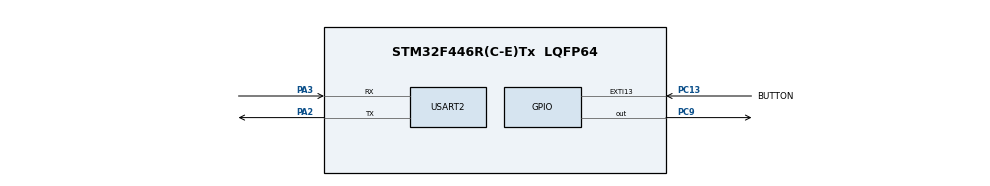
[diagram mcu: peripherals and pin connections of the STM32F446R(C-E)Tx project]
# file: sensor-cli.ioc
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FREERTOS.BinarySemaphores01=CallScanfTask,Dynamic,NULL,Available;ReleaseQueue,Dynamic,NULL,Available
FREERTOS.Queues01=Queue,255,uint8_t,0,Dynamic,NULL,NULL
FREERTOS.Tasks01=MainTask,0,1024,StartMainTask,Default,NULL,Dynamic,NULL,NULL;ScanfTask,-1,1024,StartScanfTask,Default,NULL,Dynamic,NULL,NULL
FREERTOS.configMAX_TASK_NAME_LEN=255
FREERTOS.configMINIMAL_STACK_SIZE=255
FREERTOS.configTOTAL_HEAP_SIZE=12000
FREERTOS.configUSE_NEWLIB_REENTRANT=1
Mcu.Family=STM32F4
Mcu.Name=STM32F446R(C-E)Tx
Mcu.Package=LQFP64
NVIC.EXTI15_10_IRQn=true\:5\:0\:false\:false\:true\:true\:true\:true\:true
NVIC.PriorityGroup=NVIC_PRIORITYGROUP_4
NVIC.TIM2_IRQn=true\:15\:0\:false\:false\:true\:false\:false\:true\:true
NVIC.TimeBase=TIM2_IRQn
NVIC.TimeBaseIP=TIM2
NVIC.USART2_IRQn=true\:5\:0\:false\:false\:true\:true\:true\:true\:true
PA0-WKUP.Mode=SYS_WakeUp0
PA0-WKUP.Signal=SYS_WKUP0
PA13.Mode=Serial_Wire
PA13.Signal=SYS_JTMS-SWDIO
PA14.Mode=Serial_Wire
PA14.Signal=SYS_JTCK-SWCLK
PA2.Mode=Asynchronous
PA2.Signal=USART2_TX
PA3.Mode=Asynchronous
PA3.Signal=USART2_RX
PC13.GPIO_Label=BUTTON
PC13.GPIO_ModeDefaultEXTI=GPIO_MODE_IT_FALLING
PC13.Signal=GPXTI13
PC9.GPIO_ModeDefaultOutputPP=GPIO_MODE_OUTPUT_OD
PC9.GPIO_PuPd=GPIO_NOPULL
PC9.GPIO_Speed=GPIO_SPEED_FREQ_MEDIUM
PC9.PinState=GPIO_PIN_SET
PC9.Signal=GPIO_Output
ProjectManager.HeapSize=0x200
ProjectManager.StackSize=0x400
ProjectManager.TargetToolchain=STM32CubeIDE
RCC.CortexFreq_Value=16000000
RCC.USBFreq_Value=96000000
RCC.VCOOutputFreq_Value=192000000
USART2.VirtualMode=VM_ASYNC
VP_FREERTOS_VS_CMSIS_V1.Mode=CMSIS_V1
VP_SYS_VS_tim2.Mode=TIM2
board=custom

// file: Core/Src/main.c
/* USER CODE BEGIN Header */
/**
  ******************************************************************************
  * @file           : main.c
  * @brief          : Main program body
  ******************************************************************************
  * @attention
  *
  * Copyright (c) 2025 STMicroelectronics.
  * All rights reserved.
  *
  * This software is licensed under terms that can be found in the LICENSE file
  * in the root directory of this software component.
  * If no LICENSE file comes with this software, it is provided AS-IS.
  *
  ******************************************************************************
  */
/* USER CODE END Header */
#include "main.h"
#include "cmsis_os.h"
#include "usart.h"
#include "gpio.h"

void SystemClock_Config(void);
void MX_FREERTOS_Init(void);

int main(void)
{

  /* MCU Configuration--------------------------------------------------------*/

  /* Reset of all peripherals, Initializes the Flash interface and the Systick. */
  HAL_Init();

  /* Configure the system clock */
  SystemClock_Config();

  /* Initialize all configured peripherals */
  MX_GPIO_Init();
  MX_USART2_UART_Init();
  /* USER CODE BEGIN 2 */
  /*
  dht11_t dht;

  init_dht11(&dht, &htim2, GPIOC, GPIO_PIN_9);
  HAL_Delay(1000);
  dht_status_t status = read_dht11(&dht);
*/
  /* USER CODE END 2 */

  /* Call init function for freertos objects (in cmsis_os2.c) */
  MX_FREERTOS_Init();

  /* Start scheduler */
  osKernelStart();

  /* We should never get here as control is now taken by the scheduler */

  /* Infinite loop */
  while (1)
  {

  }
}

void SystemClock_Config(void)
{
  RCC_OscInitTypeDef RCC_OscInitStruct = {0};
  RCC_ClkInitTypeDef RCC_ClkInitStruct = {0};

  /** Configure the main internal regulator output voltage
  */
  __HAL_RCC_PWR_CLK_ENABLE();
  __HAL_PWR_VOLTAGESCALING_CONFIG(PWR_REGULATOR_VOLTAGE_SCALE3);

  /** Initializes the RCC Oscillators according to the specified parameters
  * in the RCC_OscInitTypeDef structure.
  */
  RCC_OscInitStruct.OscillatorType = RCC_OSCILLATORTYPE_HSI;
  RCC_OscInitStruct.HSIState = RCC_HSI_ON;
  RCC_OscInitStruct.HSICalibrationValue = RCC_HSICALIBRATION_DEFAULT;
  RCC_OscInitStruct.PLL.PLLState = RCC_PLL_NONE;
  if (HAL_RCC_OscConfig(&RCC_OscInitStruct) != HAL_OK)
  {
    Error_Handler();
  }

  /** Initializes the CPU, AHB and APB buses clocks
  */
  RCC_ClkInitStruct.ClockType = RCC_CLOCKTYPE_HCLK|RCC_CLOCKTYPE_SYSCLK
                              |RCC_CLOCKTYPE_PCLK1|RCC_CLOCKTYPE_PCLK2;
  RCC_ClkInitStruct.SYSCLKSource = RCC_SYSCLKSOURCE_HSI;
  RCC_ClkInitStruct.AHBCLKDivider = RCC_SYSCLK_DIV1;
  RCC_ClkInitStruct.APB1CLKDivider = RCC_HCLK_DIV1;
  RCC_ClkInitStruct.APB2CLKDivider = RCC_HCLK_DIV1;

  if (HAL_RCC_ClockConfig(&RCC_ClkInitStruct, FLASH_LATENCY_0) != HAL_OK)
  {
    Error_Handler();
  }
}

void HAL_TIM_PeriodElapsedCallback(TIM_HandleTypeDef *htim)
{
  if (htim->Instance == TIM2)
  {
    HAL_IncTick();
  }
}

void Error_Handler(void)
{
  __disable_irq();
  while (1)
  {
  }
}

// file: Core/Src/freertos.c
/* USER CODE BEGIN Header */
/**
  ******************************************************************************
  * File Name          : freertos.c
  * Description        : Code for freertos applications
  ******************************************************************************
  * @attention
  *
  * Copyright (c) 2025 STMicroelectronics.
  * All rights reserved.
  *
  * This software is licensed under terms that can be found in the LICENSE file
  * in the root directory of this software component.
  * If no LICENSE file comes with this software, it is provided AS-IS.
  *
  ******************************************************************************
  */
/* USER CODE END Header */

#include "FreeRTOS.h"
#include "task.h"
#include "main.h"
#include "cmsis_os.h"

/* USER CODE BEGIN Includes */
#include "gf_dht11.h"
#include "stdio.h"
#include "gpio.h"
#include "usart.h"
/* USER CODE END Includes */

/* USER CODE BEGIN Variables */
uint8_t ch[1];
extern UART_HandleTypeDef huart2;
/* USER CODE END Variables */
osThreadId MainTaskHandle;
osThreadId ScanfTaskHandle;
osMessageQId QueueHandle;
osSemaphoreId CallScanfTaskHandle;
osSemaphoreId ReleaseQueueHandle;

void StartMainTask(void const * argument);
void StartScanfTask(void const * argument);

void MX_FREERTOS_Init(void); /* (MISRA C 2004 rule 8.1) */

/* GetIdleTaskMemory prototype (linked to static allocation support) */
void vApplicationGetIdleTaskMemory( StaticTask_t **ppxIdleTaskTCBBuffer, StackType_t **ppxIdleTaskStackBuffer, uint32_t *pulIdleTaskStackSize );

/* USER CODE BEGIN GET_IDLE_TASK_MEMORY */
static StaticTask_t xIdleTaskTCBBuffer;
static StackType_t xIdleStack[configMINIMAL_STACK_SIZE];

void vApplicationGetIdleTaskMemory( StaticTask_t **ppxIdleTaskTCBBuffer, StackType_t **ppxIdleTaskStackBuffer, uint32_t *pulIdleTaskStackSize )
{
  *ppxIdleTaskTCBBuffer = &xIdleTaskTCBBuffer;
  *ppxIdleTaskStackBuffer = &xIdleStack[0];
  *pulIdleTaskStackSize = configMINIMAL_STACK_SIZE;
  /* place for user code */
}
/* USER CODE END GET_IDLE_TASK_MEMORY */

void MX_FREERTOS_Init(void) {

  /* Create the semaphores(s) */
  /* definition and creation of CallScanfTask */
  osSemaphoreDef(CallScanfTask);
  CallScanfTaskHandle = osSemaphoreCreate(osSemaphore(CallScanfTask), 1);

  /* definition and creation of ReleaseQueue */
  osSemaphoreDef(ReleaseQueue);
  ReleaseQueueHandle = osSemaphoreCreate(osSemaphore(ReleaseQueue), 1);

  /* Create the queue(s) */
  /* definition and creation of Queue */
  osMessageQDef(Queue, 255, uint8_t);
  QueueHandle = osMessageCreate(osMessageQ(Queue), NULL);

  /* Create the thread(s) */
  /* definition and creation of MainTask */
  osThreadDef(MainTask, StartMainTask, osPriorityNormal, 0, 1024);
  MainTaskHandle = osThreadCreate(osThread(MainTask), NULL);

  /* definition and creation of ScanfTask */
  osThreadDef(ScanfTask, StartScanfTask, osPriorityBelowNormal, 0, 1024);
  ScanfTaskHandle = osThreadCreate(osThread(ScanfTask), NULL);

}

void StartMainTask(void const * argument)
{
  /* USER CODE BEGIN StartMainTask */
	printf("Press User button to start writing\r\n");
	osSemaphoreWait(CallScanfTaskHandle, 0xFFFF);

	/* Infinite loop */
	for(;;)
	{
		osSemaphoreWait(CallScanfTaskHandle, 0xFFFF);
		printf("\r\nInput: \r\n");
		HAL_UART_Receive_IT(&huart2, ch, 1);
		osDelay(1);
	}
  /* USER CODE END StartMainTask */
}

void StartScanfTask(void const * argument)
{
  /* USER CODE BEGIN StartScanfTask */
	uint32_t QueueSize = 0;
	osEvent QueueData;

	osSemaphoreWait(ReleaseQueueHandle, 0xFFFF);

	/* Infinite loop */
	for(;;)
	{
		osSemaphoreWait(ReleaseQueueHandle, 0xFFFF);

		QueueSize = osMessageAvailableSpace(QueueHandle);

		for(uint8_t i = 0; i<=(255-QueueSize); i++)
		{
			QueueData = osMessageGet(QueueHandle, 100);
			HAL_UART_Transmit(&huart2, (uint8_t*)&QueueData.value.v, 1, 4000);
		}

	}
  /* USER CODE END StartScanfTask */
}

/* USER CODE BEGIN Application */
int __io_putchar(int ch)
{
  HAL_UART_Transmit(&huart2, (uint8_t *)&ch, 1, 0xFFFF);
  return ch;
}
void HAL_GPIO_EXTI_Callback(uint16_t GPIO_Pin)
{
	osSemaphoreRelease(CallScanfTaskHandle);
}
void HAL_UART_RxCpltCallback(UART_HandleTypeDef *huart)
{
	HAL_UART_Receive_IT(&huart2, ch, 1);
	if (ch[0] == '\r' || ch[0] == '\n')
	{
		osSemaphoreRelease(ReleaseQueueHandle);
	}
	else
	{
		osMessagePut(QueueHandle, ch[0], 200);
	}
}
/* USER CODE END Application */
